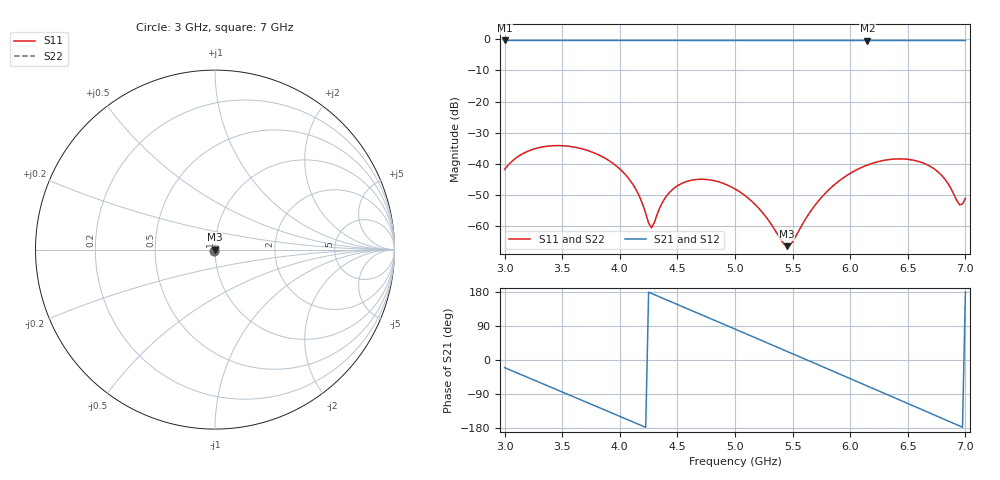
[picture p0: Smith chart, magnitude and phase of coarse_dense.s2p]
! yapnr rf: line-osh-w-w3p00-l60-w-eq-em528, footprint re-simulated (optimization grid)
! spec sha256 33c84050399ce9df7441f2261f7a681289e506ee24f4cdd1bfefd2b7cfc4a87a
! 2 ports renormalized to 50 ohm, e^(+jwt) convention
# GHz S RI R 50
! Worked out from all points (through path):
!   161 points, 3 GHz to 7 GHz, reference 50 ohm
!   highest |S21| = -0.35 dB at 3 GHz (marker M1); lowest = -0.4 dB at 6.15 GHz (marker M2)
!   group delay of S21, straight-line fit = 362 ps
!   lowest |S11| = -66.5 dB at 5.45 GHz (marker M3), VSWR 1.00, Z = 50 + j0.0408 ohm
!   |S11| at or under -10 dB: start of sweep to end of sweep
!   |S22| runs from -66.5 to -34.2 dB; largest |S21 - S12| = 0
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3  -0.00417 -0.00691  0.9012 -0.3309  0.9012 -0.3309  -0.00417 -0.00691
3.15  -0.00982 -0.0103  0.7419 -0.6091  0.7419 -0.6091  -0.00982 -0.0103
3.35  -0.0172 -0.00775  0.4049 -0.8701  0.4049 -0.8701  -0.0172 -0.00775
3.675  -0.0168 0.00398  -0.2778 -0.9184  -0.2778 -0.9184  -0.0168 0.00398
4.05  -0.00403 0.00526  -0.8707 -0.4026  -0.8707 -0.4026  -0.00403 0.00526
4.15  -0.00193 0.00299  -0.9386 -0.1977  -0.9386 -0.1977  -0.00193 0.00299
4.275  -0.000927 -9.02e-05  -0.9564 0.0715  -0.9564 0.0715  -0.000927 -9.02e-05
4.35  -0.00109 -0.00169  -0.9306 0.2317  -0.9306 0.2317  -0.00109 -0.00169
4.45  -0.00191 -0.00321  -0.8549 0.4343  -0.8549 0.4343  -0.00191 -0.00321
4.6  -0.00358 -0.00391  -0.6614 0.6941  -0.6614 0.6941  -0.00358 -0.00391
4.8  -0.00477 -0.00256  -0.2907 0.9134  -0.2907 0.9134  -0.00477 -0.00256
5  -0.00387 -0.000682  0.1393 0.9482  0.1393 0.9482  -0.00387 -0.000682
5.2  -0.00196 0.000166  0.5415 0.7906  0.5415 0.7906  -0.00196 0.000166
5.45  -0.000235 0.000408  0.8821 0.3738  0.8821 0.3738  -0.000235 0.000408
5.675  0.00113 0.00155  0.9519 -0.1077  0.9519 -0.1077  0.00113 0.00155
5.9  0.00424 0.00304  0.7757 -0.562  0.7757 -0.562  0.00424 0.00304
6.15  0.00934 0.00188  0.3475 -0.8926  0.3475 -0.8926  0.00934 0.00188
6.35  0.0116 -0.00197  -0.0837 -0.9542  -0.0837 -0.9542  0.0116 -0.00197
6.675  0.00698 -0.0064  -0.7099 -0.6433  -0.7099 -0.6433  0.00698 -0.0064
6.825  0.00355 -0.00426  -0.8858 -0.365  -0.8858 -0.365  0.00355 -0.00426
6.95  0.00215 -0.000295  -0.9531 -0.0982  -0.9531 -0.0982  0.00215 -0.000295
7  0.00225 0.00163  -0.9581 0.0121  -0.9581 0.0121  0.00225 0.00163
